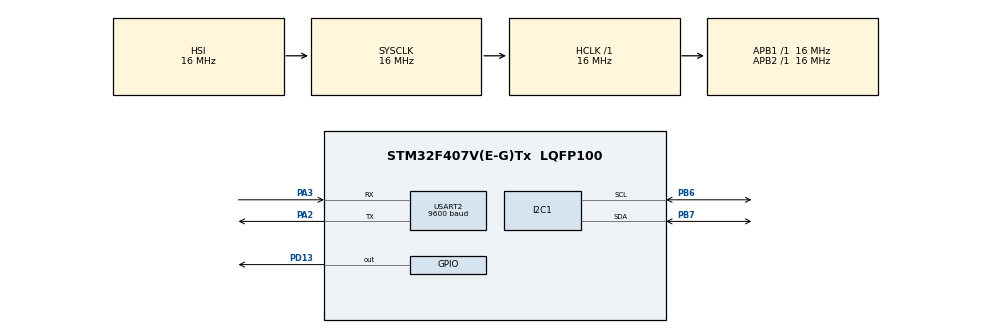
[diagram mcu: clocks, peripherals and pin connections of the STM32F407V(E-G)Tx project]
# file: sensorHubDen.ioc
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Mcu.Family=STM32F4
Mcu.Name=STM32F407V(E-G)Tx
Mcu.Package=LQFP100
NVIC.PriorityGroup=NVIC_PRIORITYGROUP_4
PA2.Mode=Asynchronous
PA2.Signal=USART2_TX
PA3.Mode=Asynchronous
PA3.Signal=USART2_RX
PB6.Mode=I2C
PB6.Signal=I2C1_SCL
PB7.Mode=I2C
PB7.Signal=I2C1_SDA
PD13.Signal=GPIO_Output
ProjectManager.HeapSize=0x200
ProjectManager.StackSize=0x400
ProjectManager.TargetToolchain=Makefile
RCC.AHBFreq_Value=16000000
RCC.APB1Freq_Value=16000000
RCC.APB2Freq_Value=16000000
RCC.CortexFreq_Value=16000000
RCC.HSE_VALUE=25000000
RCC.HSI_VALUE=16000000
RCC.LSE_VALUE=32768
RCC.SYSCLKFreq_VALUE=16000000
RCC.VCOOutputFreq_Value=192000000
USART2.BaudRate=9600
USART2.VirtualMode=VM_ASYNC
VP_RTC_VS_RTC_Activate.Mode=RTC_Enabled
board=custom

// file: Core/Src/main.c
/* USER CODE BEGIN Header */
/**
  ******************************************************************************
  * @file           : main.c
  * @brief          : Main program body
  ******************************************************************************
  * @attention
  *
  * <h2><center>&copy; Copyright (c) 2021 STMicroelectronics.
  * All rights reserved.</center></h2>
  *
  * This software component is licensed by ST under BSD 3-Clause license,
  * the "License"; You may not use this file except in compliance with the
  * License. You may obtain a copy of the License at:
  *                        opensource.org/licenses/BSD-3-Clause
  *
  ******************************************************************************
  */
/* USER CODE END Header */
#include "main.h"

/* USER CODE BEGIN Includes */
#include <stdio.h>
#include <string.h>
/* USER CODE END Includes */

I2C_HandleTypeDef hi2c1;

RTC_HandleTypeDef hrtc;

UART_HandleTypeDef huart2;

void SystemClock_Config(void);
static void MX_GPIO_Init(void);
static void MX_RTC_Init(void);
static void MX_I2C1_Init(void);
static void MX_USART2_UART_Init(void);

int main(void)
{

  /* MCU Configuration--------------------------------------------------------*/

  /* Reset of all peripherals, Initializes the Flash interface and the Systick. */
  HAL_Init();

  /* Configure the system clock */
  SystemClock_Config();

  /* Initialize all configured peripherals */
  MX_GPIO_Init();
  MX_RTC_Init();
  MX_I2C1_Init();
  MX_USART2_UART_Init();
  /* USER CODE BEGIN 2 */
  uint8_t rdata[12] = {0};
  uint8_t sendingMessage[50] = "Hello World!"; // 12 characters
  char sendingMessage2[50] = "(((((((((((("; // 12 characters
  int transmit = 1;
  HAL_GPIO_TogglePin(GPIOD, GPIO_PIN_13);
  HAL_Delay(500);
  HAL_GPIO_TogglePin(GPIOD, GPIO_PIN_13);
  HAL_Delay(500);
  HAL_GPIO_TogglePin(GPIOD, GPIO_PIN_13);
  HAL_Delay(500);
  /* USER CODE END 2 */

  /* Infinite loop */
  while (1)
  {

    /* USER CODE BEGIN 3 */
	  for (int rep = 0; rep < 100; rep ++) {
		  if (transmit == 1) {
			  HAL_UART_Transmit(&huart2, sendingMessage, sizeof(sendingMessage), HAL_MAX_DELAY);
	//		  HAL_I2C_Slave_Transmit (&hi2c1, (uint8_t*) sendingMessage, (uint16_t) sizeof(sendingMessage), 5000);
	//		  HAL_I2C_Slave_Transmit (I2C_HandleTypeDef * hi2c, uint8_t * pData, uint16_t Size, uint32_t Timeout);
		  }
		  else if (transmit == 0) {
			  HAL_UART_Receive(&huart2, rdata, sizeof(sendingMessage), HAL_MAX_DELAY);
	//		  HAL_I2C_Slave_Receive (&hi2c1, rdata, sizeof(sendingMessage), 5000);
	//		  HAL_I2C_Slave_Receive (I2C_HandleTypeDef * hi2c, uint8_t * pData, uint16_t Size, uint32_t Timeout);
		  }
		  HAL_Delay(10);
	  }

	  HAL_Delay(100);
  }
  /* USER CODE END 3 */
}

void SystemClock_Config(void)
{
  RCC_OscInitTypeDef RCC_OscInitStruct = {0};
  RCC_ClkInitTypeDef RCC_ClkInitStruct = {0};
  RCC_PeriphCLKInitTypeDef PeriphClkInitStruct = {0};

  /** Configure the main internal regulator output voltage
  */
  __HAL_RCC_PWR_CLK_ENABLE();
  __HAL_PWR_VOLTAGESCALING_CONFIG(PWR_REGULATOR_VOLTAGE_SCALE1);
  /** Initializes the RCC Oscillators according to the specified parameters
  * in the RCC_OscInitTypeDef structure.
  */
  RCC_OscInitStruct.OscillatorType = RCC_OSCILLATORTYPE_HSI|RCC_OSCILLATORTYPE_LSI;
  RCC_OscInitStruct.HSIState = RCC_HSI_ON;
  RCC_OscInitStruct.HSICalibrationValue = RCC_HSICALIBRATION_DEFAULT;
  RCC_OscInitStruct.LSIState = RCC_LSI_ON;
  RCC_OscInitStruct.PLL.PLLState = RCC_PLL_NONE;
  if (HAL_RCC_OscConfig(&RCC_OscInitStruct) != HAL_OK)
  {
    Error_Handler();
  }
  /** Initializes the CPU, AHB and APB buses clocks
  */
  RCC_ClkInitStruct.ClockType = RCC_CLOCKTYPE_HCLK|RCC_CLOCKTYPE_SYSCLK
                              |RCC_CLOCKTYPE_PCLK1|RCC_CLOCKTYPE_PCLK2;
  RCC_ClkInitStruct.SYSCLKSource = RCC_SYSCLKSOURCE_HSI;
  RCC_ClkInitStruct.AHBCLKDivider = RCC_SYSCLK_DIV1;
  RCC_ClkInitStruct.APB1CLKDivider = RCC_HCLK_DIV1;
  RCC_ClkInitStruct.APB2CLKDivider = RCC_HCLK_DIV1;

  if (HAL_RCC_ClockConfig(&RCC_ClkInitStruct, FLASH_LATENCY_0) != HAL_OK)
  {
    Error_Handler();
  }
  PeriphClkInitStruct.PeriphClockSelection = RCC_PERIPHCLK_RTC;
  PeriphClkInitStruct.RTCClockSelection = RCC_RTCCLKSOURCE_LSI;
  if (HAL_RCCEx_PeriphCLKConfig(&PeriphClkInitStruct) != HAL_OK)
  {
    Error_Handler();
  }
}

static void MX_I2C1_Init(void)
{

  hi2c1.Instance = I2C1;
  hi2c1.Init.ClockSpeed = 100000;
  hi2c1.Init.DutyCycle = I2C_DUTYCYCLE_2;
  hi2c1.Init.OwnAddress1 = 0;
  hi2c1.Init.AddressingMode = I2C_ADDRESSINGMODE_7BIT;
  hi2c1.Init.DualAddressMode = I2C_DUALADDRESS_DISABLE;
  hi2c1.Init.OwnAddress2 = 0;
  hi2c1.Init.GeneralCallMode = I2C_GENERALCALL_DISABLE;
  hi2c1.Init.NoStretchMode = I2C_NOSTRETCH_DISABLE;
  if (HAL_I2C_Init(&hi2c1) != HAL_OK)
  {
    Error_Handler();
  }

}

static void MX_RTC_Init(void)
{

  /** Initialize RTC Only
  */
  hrtc.Instance = RTC;
  hrtc.Init.HourFormat = RTC_HOURFORMAT_24;
  hrtc.Init.AsynchPrediv = 127;
  hrtc.Init.SynchPrediv = 255;
  hrtc.Init.OutPut = RTC_OUTPUT_DISABLE;
  hrtc.Init.OutPutPolarity = RTC_OUTPUT_POLARITY_HIGH;
  hrtc.Init.OutPutType = RTC_OUTPUT_TYPE_OPENDRAIN;
  if (HAL_RTC_Init(&hrtc) != HAL_OK)
  {
    Error_Handler();
  }

}

static void MX_USART2_UART_Init(void)
{

  huart2.Instance = USART2;
  huart2.Init.BaudRate = 9600;
  huart2.Init.WordLength = UART_WORDLENGTH_8B;
  huart2.Init.StopBits = UART_STOPBITS_1;
  huart2.Init.Parity = UART_PARITY_NONE;
  huart2.Init.Mode = UART_MODE_TX_RX;
  huart2.Init.HwFlowCtl = UART_HWCONTROL_NONE;
  huart2.Init.OverSampling = UART_OVERSAMPLING_16;
  if (HAL_UART_Init(&huart2) != HAL_OK)
  {
    Error_Handler();
  }

}

static void MX_GPIO_Init(void)
{
  GPIO_InitTypeDef GPIO_InitStruct = {0};

  /* GPIO Ports Clock Enable */
  __HAL_RCC_GPIOA_CLK_ENABLE();
  __HAL_RCC_GPIOD_CLK_ENABLE();
  __HAL_RCC_GPIOB_CLK_ENABLE();

  /*Configure GPIO pin Output Level */
  HAL_GPIO_WritePin(GPIOD, GPIO_PIN_13, GPIO_PIN_RESET);

  /*Configure GPIO pin : PD13 */
  GPIO_InitStruct.Pin = GPIO_PIN_13;
  GPIO_InitStruct.Mode = GPIO_MODE_OUTPUT_PP;
  GPIO_InitStruct.Pull = GPIO_NOPULL;
  GPIO_InitStruct.Speed = GPIO_SPEED_FREQ_LOW;
  HAL_GPIO_Init(GPIOD, &GPIO_InitStruct);

}

void Error_Handler(void)
{
  __disable_irq();
  while (1)
  {
  }
}

/************************ (C) COPYRIGHT STMicroelectronics *****END OF FILE****/
